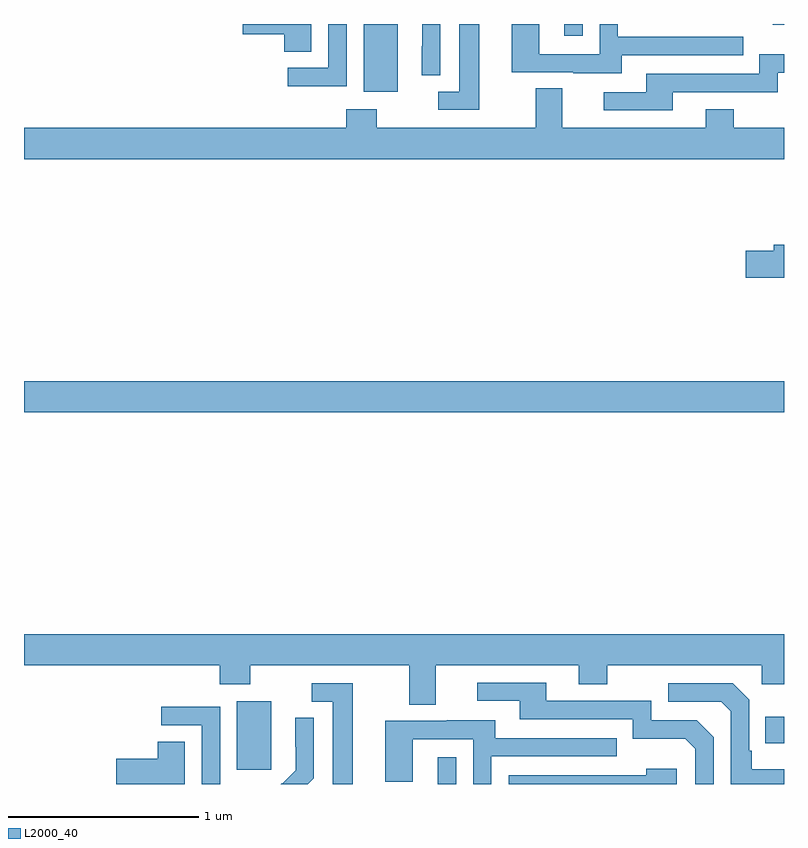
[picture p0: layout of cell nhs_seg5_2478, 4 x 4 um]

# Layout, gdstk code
import gdstk
lib = gdstk.Library(unit=1e-6, precision=1e-09)
def R(c, l, rs):  # rectangles x0, y0, x1, y1
    for r in rs: c.add(gdstk.rectangle(r[:2], r[2:], *l))
def P(c, l, *ps):  # polygons
    for p in ps: c.add(gdstk.Polygon(p, *l))
L2000_40 = (2000, 40)

nhs_seg5_2478 = lib.new_cell('nhs_seg5_2478')
R(nhs_seg5_2478, L2000_40, [(257.177,858.799,257.274,858.94), (256.121,858.873,256.3,859.234), (258.901,859.013,259,859.153), (255,860.756,259,860.92), (256.787,862.442,256.966,862.799), (257.843,862.737,257.94,862.799), (258.941,862.796,259,862.799)])
P(nhs_seg5_2478, L2000_40, [(256.513,862.799),(256.152,862.799),(256.152,862.745),(256.37,862.745),(256.37,862.654),(256.513,862.654)],
  [(257.19,862.799),(257.096,862.799),(257.096,862.682),(257.094,862.682),(257.094,862.528),(257.19,862.528)],
  [(256.698,862.799),(256.602,862.799),(256.602,862.569),(256.389,862.569),(256.389,862.471),(256.698,862.471)],
  [(258.145,862.635),(258.785,862.635),(258.785,862.731),(258.126,862.731),(258.126,862.799),(258.03,862.799),(258.03,862.641),(257.712,862.641),(257.712,862.799),(257.567,862.799),(257.567,862.545),(257.891,862.545),(257.891,862.541),(258.145,862.541)],
  [(257.395,862.799),(257.291,862.799),(257.291,862.443),(257.181,862.443),(257.181,862.347),(257.395,862.347)],
  [(258.415,862.44),(258.966,862.44),(258.966,862.542),(259,862.542),(259,862.639),(258.87,862.639),(258.87,862.536),(258.275,862.536),(258.275,862.44),(258.051,862.44),(258.051,862.344),(258.415,862.344)],
  [(259,862.252),(258.735,862.252),(258.735,862.351),(258.587,862.351),(258.587,862.252),(257.833,862.252),(257.833,862.46),(257.693,862.46),(257.693,862.252),(256.857,862.252),(256.857,862.351),(256.697,862.351),(256.697,862.252),(255,862.252),(255,862.088),(259,862.088)],
  [(259,861.636),(258.947,861.636),(258.947,861.606),(258.798,861.606),(258.798,861.464),(259,861.464)],
  [(257.167,859.424),(257.921,859.424),(257.921,859.325),(258.069,859.325),(258.069,859.424),(258.882,859.424),(258.882,859.325),(259,859.325),(259,859.588),(255,859.588),(255,859.424),(256.031,859.424),(256.031,859.325),(256.191,859.325),(256.191,859.424),(257.027,859.424),(257.027,859.216),(257.167,859.216)],
  [(258.63,859.044),(258.54,859.134),(258.3,859.134),(258.3,859.236),(257.749,859.236),(257.749,859.332),(257.385,859.332),(257.385,859.236),(257.609,859.236),(257.609,859.14),(258.204,859.14),(258.204,859.037),(258.481,859.037),(258.534,858.984),(258.534,858.799),(258.63,858.799)],
  [(259,858.877),(258.829,858.877),(258.829,858.973),(258.816,858.973),(258.816,859.242),(258.729,859.329),(258.392,859.329),(258.392,859.233),(258.669,859.233),(258.72,859.182),(258.72,858.799),(259,858.799)],
  [(256.729,859.329),(256.515,859.329),(256.515,859.233),(256.625,859.233),(256.625,858.799),(256.729,858.799)],
  [(256.032,859.206),(255.723,859.206),(255.723,859.107),(255.936,859.107),(255.936,858.799),(256.032,858.799)],
  [(256.524,858.83),(256.524,859.148),(256.428,859.148),(256.428,858.994),(256.43,858.994),(256.43,858.872),(256.359,858.801),(256.356,858.804),(256.351,858.799),(256.493,858.799)],
  [(257.46,858.945),(258.119,858.945),(258.119,859.041),(257.479,859.041),(257.479,859.135),(257.225,859.135),(257.225,859.131),(256.901,859.131),(256.901,858.811),(257.046,858.811),(257.046,859.035),(257.364,859.035),(257.364,858.799),(257.46,858.799)],
  [(255.847,859.022),(255.704,859.022),(255.704,858.932),(255.486,858.932),(255.486,858.799),(255.847,858.799)],
  [(258.436,858.88),(258.275,858.88),(258.275,858.846),(257.55,858.846),(257.55,858.799),(258.436,858.799)])

lib.write_gds('nhs_seg5_2478.gds')
